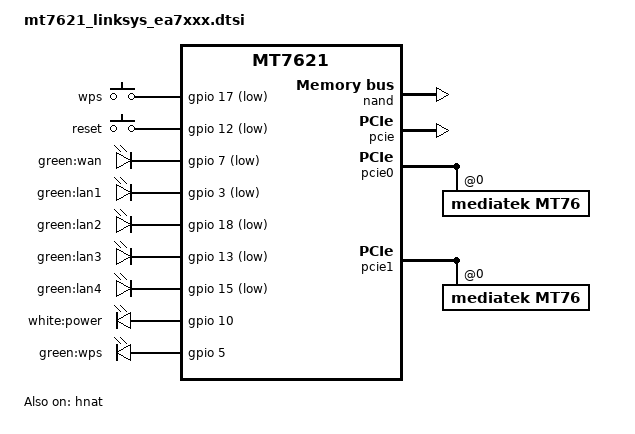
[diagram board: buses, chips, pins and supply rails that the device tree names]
// SPDX-License-Identifier: GPL-2.0-or-later OR MIT

#include "mt7621.dtsi"

#include <dt-bindings/gpio/gpio.h>
#include <dt-bindings/input/input.h>

/ {
	aliases {
		led-boot = &led_power;
		led-failsafe = &led_power;
		led-running = &led_power;
		led-upgrade = &led_power;
	};

	chosen {
		bootargs = "console=ttyS0,115200";
	};

	keys {
		compatible = "gpio-keys";

		wps {
			label = "wps";
			gpios = <&gpio 17 GPIO_ACTIVE_LOW>;
			linux,code = <KEY_WPS_BUTTON>;
		};

		reset {
			label = "reset";
			gpios = <&gpio 12 GPIO_ACTIVE_LOW>;
			linux,code = <KEY_RESTART>;
		};
	};

	leds {
		compatible = "gpio-leds";

		wan_green {
			label = "green:wan";
			gpios = <&gpio 7 GPIO_ACTIVE_LOW>;
		};

		lan1_green {
			label = "green:lan1";
			gpios = <&gpio 3 GPIO_ACTIVE_LOW>;
		};

		lan2_green {
			label = "green:lan2";
			gpios = <&gpio 18 GPIO_ACTIVE_LOW>;
		};

		lan3_green {
			label = "green:lan3";
			gpios = <&gpio 13 GPIO_ACTIVE_LOW>;
		};

		lan4_green {
			label = "green:lan4";
			gpios = <&gpio 15 GPIO_ACTIVE_LOW>;
		};

		led_power: power {
			label = "white:power";
			gpios = <&gpio 10 GPIO_ACTIVE_HIGH>;
		};

		wps {
			label = "green:wps";
			gpios = <&gpio 5 GPIO_ACTIVE_HIGH>;
		};
	};
};

&nand {
	status = "okay";

	mediatek,bbt;
	mediatek,bmt-remap-range =
		<0x180000 0x580000>,
		<0x2980000 0x2d80000>;

	partitions {
		compatible = "fixed-partitions";
		#address-cells = <1>;
		#size-cells = <1>;

		partition@0 {
			label = "boot";
			reg = <0x0 0x80000>;
			read-only;
		};

		partition@80000 {
			label = "u_env";
			reg = <0x80000 0x40000>;
		};

		factory: partition@c0000 {
			label = "factory";
			reg = <0xc0000 0x40000>;
			read-only;
		};

		partition@100000 {
			label = "s_env";
			reg = <0x100000 0x40000>;
		};

		partition@140000 {
			label = "devinfo";
			reg = <0x140000 0x40000>;
			read-only;
		};

		partition@180000 {
			label = "kernel";
			reg = <0x180000 0x400000>;
		};

		partition@580000 {
			label = "ubi";
			reg = <0x580000 0x2400000>;
		};

		partition@2980000 {
			label = "alt_kernel";
			reg = <0x2980000 0x400000>;
			read-only;
		};

		partition@2d80000 {
			label = "alt_rootfs";
			reg = <0x2d80000 0x2400000>;
			read-only;
		};

		partition@5180000 {
			label = "sysdiag";
			reg = <0x5180000 0x100000>;
			read-only;
		};

		partition@5280000 {
			label = "syscfg";
			reg = <0x5280000 0x2d00000>;
			read-only;
		};
	};
};

&pcie {
	status = "okay";
};

&pcie0 {
	mt76@0,0 {
		compatible = "mediatek,mt76";
		reg = <0x0000 0 0 0 0>;
		mediatek,mtd-eeprom = <&factory 0x0000>;
	};
};

&pcie1 {
	mt76@0,0 {
		compatible = "mediatek,mt76";
		reg = <0x0000 0 0 0 0>;
		mediatek,mtd-eeprom = <&factory 0x8000>;
	};
};

&gmac0 {
	nvmem-cells = <&macaddr_factory_e000>;
	nvmem-cell-names = "mac-address";
};

&gmac1 {
	nvmem-cells = <&macaddr_factory_e000>;
	nvmem-cell-names = "mac-address";
	mac-address-increment = <(-2)>;
};

&switch0 {
	/* must delete compatible property */
	/delete-property/ compatible;
};

&hnat {
        mtketh-wan = "eth1";
        mtketh-ppd = "eth0";
        mtketh-lan = "eth0";
	ext-devices = "wlan0","wlan1","rax0","ra0", "rai0","apclii0","apclix0", "apcli0","usb0","wwan0";
        mtketh-max-gmac = <2>;
        status = "okay";
};

&gsw {
	mediatek,mdio = <&mdio>;
	mediatek,portmap = "wllll";
	mediatek,mcm;
	mt7530,direct-phy-access;

	resets = <&rstctrl 2>;
	reset-names = "mcm";

	port5: port@5 {
		compatible = "mediatek,mt753x-port";
		reg = <5>;
		phy-mode = "rgmii";
		fixed-link {
			speed = <1000>;
			full-duplex;
		};
	};

	port6: port@6 {
		compatible = "mediatek,mt753x-port";
		reg = <6>;
		phy-mode = "rgmii";
		fixed-link {
			speed = <1000>;
			full-duplex;
		};
	};

	mdio-bus {
		#address-cells = <1>;
		#size-cells = <0>;
	};
};

&state_default {
	gpio {
		groups = "i2c", "uart2", "uart3", "jtag", "wdt";
		function = "gpio";
	};
};

&factory {
	compatible = "nvmem-cells";
	#address-cells = <1>;
	#size-cells = <1>;

	macaddr_factory_e000: macaddr@e000 {
		reg = <0xe000 0x6>;
	};
};
